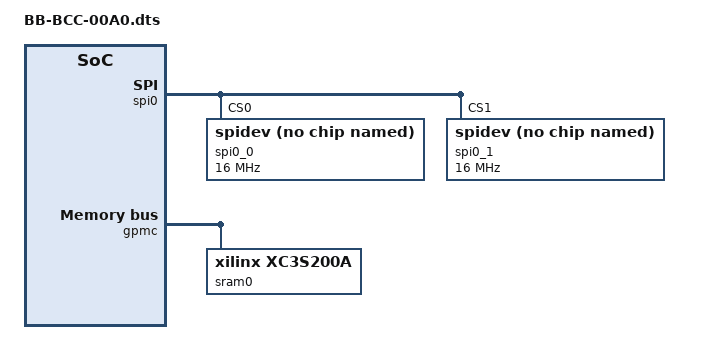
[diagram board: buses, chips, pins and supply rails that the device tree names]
/dts-v1/;
/plugin/;

/*
 * Pin assignments
 *
 * LCD               Connector
 * 
 * 2 SPI CLK  <--   P9.22 SPI0_CLK
 * 3 SPI MOSI <--   P9.18 SPI0_D1
 * 4 SPI MISO <--   P9.21 SPI0_D0
 * 5 SPI CS   <--   P9.17 SP0_CS0
 *
 */

/ {
    compatible = "ti,beaglebone", "ti,beaglebone-black";

    /* identification */
    part-number = "BB-BONE-BCC";

    /* version */
    version = "00A0";

    /* state the resources this cape uses */
    exclusive-use =
        /* SPI pins used */
        "P9.22",	    /* SPI0: spi0_sclk */
        "P9.18",	    /* SPI0: spi0_d1 */
        "P9.17",	    /* SPI0: spi0_cs0 */
        "P9.21",	    /* SPI0: spi0_d0 */
        /* GPMC Clock*/
        "P9.18",        /* GPMC: gpmc_clk */
        /* GPMC Address/Data pins used */
        "P9.25",        /* GPMC: gpmc_ad0 */
        "P9.24",        /* GPMC: gpmc_ad1 */
        "P9.5",         /* GPMC: gpmc_ad2 */
        "P9.6",         /* GPMC: gpmc_ad3 */
        "P9.23",        /* GPMC: gpmc_ad4 */
        "P9.22",        /* GPMC: gpmc_ad5 */
        "P9.3",         /* GPMC: gpmc_ad6 */
        "P9.4",         /* GPMC: gpmc_ad7 */
        "P9.19",        /* GPMC: gpmc_ad8 */
        "P9.13",        /* GPMC: gpmc_ad9 */
        "P9.14",        /* GPMC: gpmc_ad10 */
        "P9.17",        /* GPMC: gpmc_ad11 */
        "P9.12",        /* GPMC: gpmc_ad12 */
        "P9.11",        /* GPMC: gpmc_ad13 */
        "P9.16",        /* GPMC: gpmc_ad14 */
        "P9.15",        /* GPMC: gpmc_ad15*/
        /* GPMC Control Lines */
        "P8.12",        /* GPMC: gpmc_be1n */
        "P9.7",         /* GPMC: gpmc_advn_ale */
        "P9.8",         /* GPMC: gpmc_oen_ren */
        "P9.10",        /* GPMC: gpmc_wen */
        "P9.9",         /* GPMC: gpmc_be0n_cle */
        "P9.12",        /* GPMC: gpmc_be1n */
        /* GPMC Chip Selects */
        "P9.26",        /* GPMC: gpmc_csn0 */
        "P9.21",        /* GPMC: gpmc_csn1 */
        "P9.20",        /* GPMC: gpmc_csn2 */
        /* Hardware IP uses */
        "GPMC",
        "SPI0";

    fragment@0 {
        target = <&am33xx_pinmux>;
        __overlay__ {
            pinctrl_spi0: pinctrl_spi0_pins {
                pinctrl-single,pins = <                                        
                    0x150 0x30    /* P9_22 = mcasp0_aclkx.spi0_sclk                 , OUTPUT_PULLUP | MODE0 */
                    0x154 0x30    /* P9_21 = mcasp0_fsx.spi0_d0                    nts are the sam , INPUT_PULLUP | MODE0 */
                    0x158 0x10    /* P9_18 = mcasp0_axr0.spi0_d1                    , OUTPUT_PULLUP | MODE0 */
                    0x15C 0x10    /* P9_17 = mcasp0_ahclkr.spi0_cs0                 , OUTPUT_PULLUP | MODE0 */                    
                >;
            };

            bcc_gpmc: pinmux_bcc_gpmc {
                pinctrl-single,pins = <
                    /* clock */
                    0x08C 0x30  /* gpmc_clk, INPUT_PULLUP | MODE0 */
               
                    /* address/data muxed bus */
                    0x000 0x30  /* gpmc_ad0, INPUT_PULLUP | MODE0 */
                    0x004 0x30  /* gpmc_ad1, INPUT_PULLUP | MODE0 */
                    0x008 0x30  /* gpmc_ad2, INPUT_PULLUP | MODE0 */
                    0x00c 0x30  /* gpmc_ad3, INPUT_PULLUP | MODE0 */
                    0x010 0x30  /* gpmc_ad4, INPUT_PULLUP | MODE0 */
                    0x014 0x30  /* gpmc_ad5, INPUT_PULLUP | MODE0 */
                    0x018 0x30  /* gpmc_ad6, INPUT_PULLUP | MODE0 */
                    0x01c 0x30  /* gpmc_ad7, INPUT_PULLUP | MODE0 */
                    0x020 0x30  /* gpmc_ad8, INPUT_PULLUP | MODE0 */
                    0x024 0x30  /* gpmc_ad9, INPUT_PULLUP | MODE0 */
                    0x028 0x30  /* gpmc_ad10, INPUT_PULLUP | MODE0 */
                    0x02c 0x30  /* gpmc_ad11, INPUT_PULLUP | MODE0 */
                    0x030 0x30  /* gpmc_ad12, INPUT_PULLUP | MODE0 */
                    0x034 0x30  /* gpmc_ad13, INPUT_PULLUP | MODE0 */
                    0x038 0x30  /* gpmc_ad14, INPUT_PULLUP | MODE0 */
                    0x03c 0x30  /* gpmc_ad15, INPUT_PULLUP | MODE0 */
               
                    /* control */
                    0x090 0x10  /* gpmc_advn_ale, OUTPUT_PULLUP | MODE0 */
                    0x094 0x10  /* gpmc_oen_ren, OUTPUT_PULLUP | MODE0 */
                    0x098 0x10  /* gpmc_wen, OUTPUT_PULLUP | MODE0 */
                    0x09c 0x10  /* gpmc_be0n_cle, OUTPUT_PULLUP | MODE0 */
               
                    /* chipselects */
                    0x07C 0x10  /* gpmc_csn0, OUTPUT_PULLUP | MODE0 */
                    0x080 0x10  /* gpmc_csn1, OUTPUT_PULLUP | MODE0 */
                    0x084 0x10  /* gpmc_csn2, OUTPUT_PULLUP | MODE0 */
                >;
            };
        };
    };

    fragment@1 {
        target = <&spi0>;
        __overlay__ {
            #address-cells     = <1>;
            #size-cells     = <0>;
            status            = "okay";
            pinctrl-names    = "default";
            pinctrl-0        = <&pinctrl_spi0>;    
           

            spi0_0{
                #address-cells       = <1>;
                #size-cells       = <0>;
                compatible           = "linux,spidev";
                reg               = <0>;
                spi-max-frequency = <16000000>;
                spi-cpha;          
            };
            spi0_1{
                #address-cells       = <1>;
                #size-cells       = <0>;
                compatible           = "linux,spidev";
                reg               = <1>;
                spi-max-frequency = <16000000>;
                // Mode 0 (CPOL = 0, CPHA = 0)
            };
        };
    };

    fragment@2 {
        target = <&gpmc>;
        depth = <1>; /* only create devices on depth 1*/

        /* stupid warnings */
        // Don't yet understand why these are here? Notes further down
        // is this the parent address used for the ranges below?
        #address-cells = <1>;
        #size-cells = <1>;
        ranges;

        __overlay__ {
            // Status controls if the device is ON/OFF. Turning on here
            status = "okay";

            // Sets the size (number of uint32's) of address variables in reg property
            #address-cells = <2>;
            // Sets the size (number of uint32's) of length variable in reg property
            #size-cells = <1>;

            gpmc,num-cs = <3>;

            /* set up the pin mux for the GPMC signals */
            pinctrl-names = "default";          
            pinctrl-0 = <&bcc_gpmc>;  


            /* chip select ranges */
            /* ranges = <cs-number> 0 <physical address of mapping> <size> */
            // Must be two seperate entries. one is for bram, the other registers
            ranges = <0 0 0x00000000 0x00001000   /* CS0 @addr 0x0000000, size 0x00001000 */
                      1 0 0x00002000 0x00001000>; /* CS1 @addr 0x0002000, size 0x00001000 */
            

            sram0 {
                // compatible is the key word used by the OS to decide which driver to bind to this device
                // the format is: "<manufacturer>,<model>". The next string is other devices that this
                // device is compatible with
                compatible = "xilinx,xc3s200a","sram";
                #address-cells =<1>;
                #size-cells = <1>;
                // width of the hardware interface in bytes. Since I want to use 16 bits (2 bytes)
                // for my interface I use 1. You could use 1, and then remove the upper (or lower 
                // have to check?) 8 pin configs above.
                bank-width = <2>;

                bram@0 {
                    // reg is a list of tuples representing an address range used by the device
                    // reg = < address1 length1 [address2 length2] [address3 length3]...>
                    // address and length are variable of variable size. Interpreting reg requires
                    // the parent node's #address-cells and #size-cells (<2> and <1> here) 
                    // in this situation, each address value is 2 cells (64 bits) and length is
                    // 1 cell.
                    reg = <0x0000000 0x1000>;
                    // This means bram0 is assigned one address range; 0x00000000 to 0x00000fff.
                };

                registers@2000 {
                    reg = <0x0002000 0x1000>;
                    // registers are assigned address range: 0x00002000 to 0x00002fff
                };
            }; 
        };

    };


};
